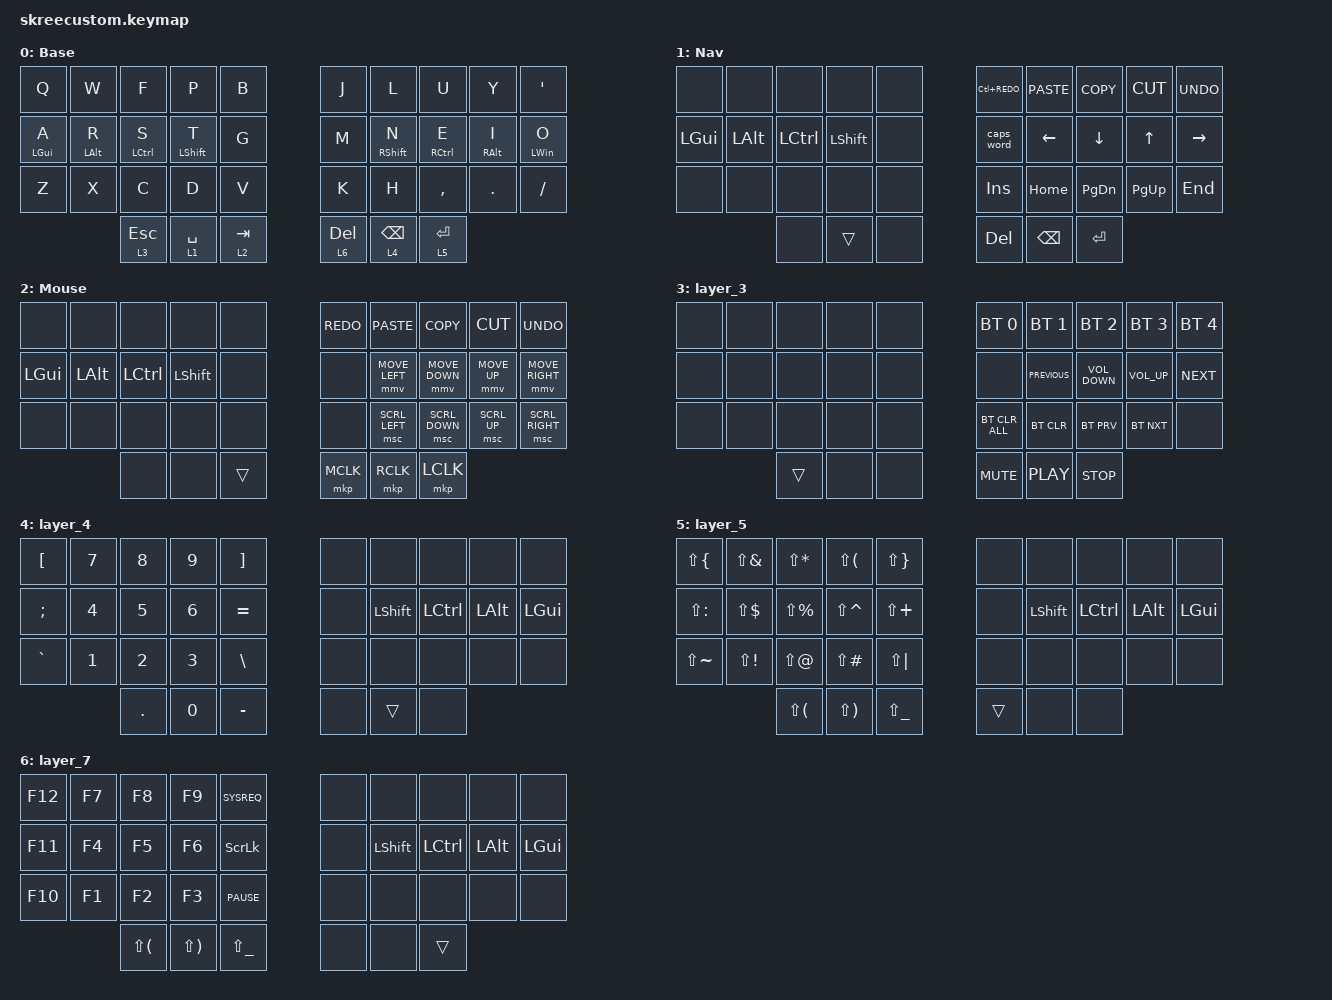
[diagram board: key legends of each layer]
/*
 * Copyright (c) 2020 The ZMK Contributors
 *
 * SPDX-License-Identifier: MIT
 */
//#include <behaviors/mouse_keys.dtsi>

#include <input/processors.dtsi>
#include <dt-bindings/zmk/input_transform.h>
#include <behaviors.dtsi>
#include <dt-bindings/zmk/bt.h>
#include <dt-bindings/zmk/keys.h>
#include <dt-bindings/zmk/pointing.h>

&mt {
    tapping-term-ms = <185>;
    flavor = "tap-preferred";
};

/ {
    keymap {
        compatible = "zmk,keymap";

        Base {
            bindings = <
&kp Q           &kp W           &kp F               &kp P             &kp B        &kp J         &kp L              &kp U                &kp Y            &kp SINGLE_QUOTE
&mt LEFT_GUI A  &mt LEFT_ALT R  &mt LEFT_CONTROL S  &mt LEFT_SHIFT T  &kp G        &kp M         &mt RIGHT_SHIFT N  &mt RIGHT_CONTROL E  &mt RIGHT_ALT I  &mt LEFT_WIN O
&kp Z           &kp X           &kp C               &kp D             &kp V        &kp K         &kp H              &kp COMMA            &kp DOT          &kp FSLH
                                &lt 3 ESC           &lt 1 SPACE       &lt 2 TAB    &lt 6 DELETE  &lt 4 BACKSPACE    &lt 5 ENTER
            >;
        };

        Nav {
            bindings = <
&none         &none         &none             &none           &none    &kp LC(K_REDO)  &kp K_PASTE     &kp K_COPY      &kp K_CUT     &kp K_UNDO
&kp LEFT_GUI  &kp LEFT_ALT  &kp LEFT_CONTROL  &kp LEFT_SHIFT  &none    &caps_word      &kp LEFT_ARROW  &kp DOWN_ARROW  &kp UP_ARROW  &kp RIGHT_ARROW
&none         &none         &none             &none           &none    &kp INSERT      &kp HOME        &kp PAGE_DOWN   &kp PAGE_UP   &kp END
                            &none             &trans          &none    &kp DELETE      &kp BACKSPACE   &kp ENTER
            >;
        };

        Mouse {
            bindings = <
&none     &none     &none      &none      &none     &kp K_REDO  &kp K_PASTE     &kp K_COPY      &kp K_CUT     &kp K_UNDO
&kp LGUI  &kp LALT  &kp LCTRL  &kp LSHFT  &none     &none       &mmv MOVE_LEFT  &mmv MOVE_DOWN  &mmv MOVE_UP  &mmv MOVE_RIGHT
&none     &none     &none      &none      &none     &none       &msc SCRL_LEFT  &msc SCRL_DOWN  &msc SCRL_UP  &msc SCRL_RIGHT
                    &none      &none      &trans    &mkp MCLK   &mkp RCLK       &mkp LCLK
            >;
        };

        layer_3 {
            bindings = <
&none  &none  &none   &none  &none    &bt BT_SEL 0    &bt BT_SEL 1    &bt BT_SEL 2       &bt BT_SEL 3     &bt BT_SEL 4
&none  &none  &none   &none  &none    &none           &kp C_PREVIOUS  &kp C_VOLUME_DOWN  &kp C_VOLUME_UP  &kp C_NEXT
&none  &none  &none   &none  &none    &bt BT_CLR_ALL  &bt BT_CLR      &bt BT_PRV         &bt BT_NXT       &none
              &trans  &none  &none    &kp C_MUTE      &kp C_PLAY      &kp C_STOP
            >;
        };

        layer_4 {
            bindings = <
&kp LBKT   &kp N7  &kp N8   &kp N9  &kp RBKT     &none  &none           &none             &none         &none
&kp SEMI   &kp N4  &kp N5   &kp N6  &kp EQUAL    &none  &kp LEFT_SHIFT  &kp LEFT_CONTROL  &kp LEFT_ALT  &kp LEFT_GUI
&kp GRAVE  &kp N1  &kp N2   &kp N3  &kp BSLH     &none  &none           &none             &none         &none
                   &kp DOT  &kp N0  &kp MINUS    &none  &trans          &none
            >;
        };

        layer_5 {
            bindings = <
&kp LS(LBRC)   &kp LS(AMPS)  &kp LS(STAR)   &kp LS(LPAR)   &kp LS(RBRC)     &none   &none           &none             &none         &none
&kp LS(COLON)  &kp LS(DLLR)  &kp LS(PRCNT)  &kp LS(CARET)  &kp LS(PLUS)     &none   &kp LEFT_SHIFT  &kp LEFT_CONTROL  &kp LEFT_ALT  &kp LEFT_GUI
&kp LS(TILDE)  &kp LS(EXCL)  &kp LS(AT)     &kp LS(POUND)  &kp LS(PIPE)     &none   &none           &none             &none         &none
                             &kp LS(LPAR)   &kp LS(RPAR)   &kp LS(UNDER)    &trans  &none           &none
            >;
        };

        layer_7 {
            bindings = <
&kp F12  &kp F7  &kp F8        &kp F9        &kp SYSREQ        &none  &none           &none             &none         &none
&kp F11  &kp F4  &kp F5        &kp F6        &kp SCROLLLOCK    &none  &kp LEFT_SHIFT  &kp LEFT_CONTROL  &kp LEFT_ALT  &kp LEFT_GUI
&kp F10  &kp F1  &kp F2        &kp F3        &kp C_PAUSE       &none  &none           &none             &none         &none
                 &kp LS(LPAR)  &kp LS(RPAR)  &kp LS(UNDER)     &none  &none           &trans
            >;
        };
    };
};

// //right hand trackball overrides
// &trackball_peripheral_listener {
//     input-processors =
//         <&zip_xy_transform INPUT_TRANSFORM_XY_SWAP>,//this gets it to the default installation orientation
//         <&zip_temp_layer 3 500>;//activate layer 3 within 500ms of the trackball moving
// };
// //left hand trackball overrides
// &trackball_central_listener {
//     input-processors = 
//         <&zip_xy_transform INPUT_TRANSFORM_XY_SWAP>,//this gets it to the default installation orientation
//         <&zip_xy_scaler 1 3>,//multiply sensitivity by 1, divide by 3 (make it slower for scrolling)
//         <&zip_xy_to_scroll_mapper>,//make this trackball output scrolling events by default instead of cursor movement
//         <&zip_scroll_transform INPUT_TRANSFORM_Y_INVERT>;//invert vertical scrolling so that the view moves in the same direction as the top of the trackball.
// };
